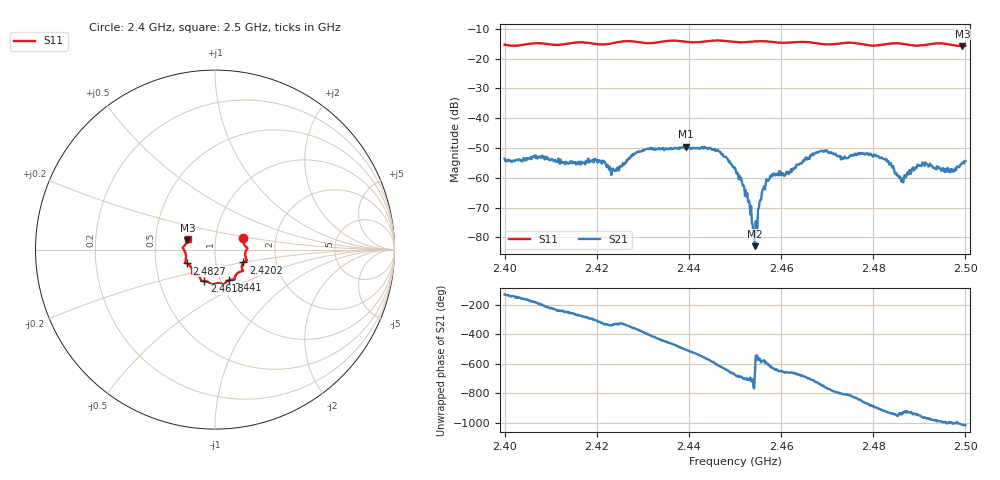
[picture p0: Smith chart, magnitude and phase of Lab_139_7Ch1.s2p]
# Hz S RI R 50
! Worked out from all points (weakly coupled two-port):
!   601 points, 2.4 GHz to 2.5 GHz, reference 50 ohm
!   highest |S21| = -49.54 dB at 2.4393 GHz (marker M1); lowest = -83.0 dB at 2.4543 GHz (marker M2)
!   lowest |S11| = -15.8 dB at 2.4993 GHz (marker M3), VSWR 1.39, Z = 36.5 + j3.83 ohm
!   |S11| at or under -10 dB: start of sweep to end of sweep
!   S12 and S22 are empty: the file has one direction only
!   S11 on the Smith chart (normalised r, x): 2.4 GHz: 1.36, +0.18; 2.4202 GHz: 1.36, -0.20; 2.441 GHz: 1.10, -0.39; 2.4618 GHz: 0.84, -0.30; 2.4827 GHz: 0.72, -0.11; 2.5 GHz: 0.73, +0.09
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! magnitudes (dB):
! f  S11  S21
! 2.4 GHz  -15.4  -53.6
! 2.4167 GHz  -14.5  -54.6
! 2.4202 GHz  -15.2  -54.9
! 2.4237 GHz  -14.8  -57.5
! 2.4333 GHz  -14.5  -50.2
! 2.4393 GHz  -14.4  -49.5
! 2.441 GHz  -14.6  -50.1
! 2.4463 GHz  -13.9  -50.7
! 2.45 GHz  -14.4  -56.6
! 2.4527 GHz  -14.5  -65.2
! 2.4543 GHz  -14.2  -83.0
! 2.4558 GHz  -14.2  -65.0
! 2.4572 GHz  -14.3  -61.1
! 2.4618 GHz  -14.6  -58.4
! 2.4667 GHz  -14.6  -52.4
! 2.4827 GHz  -15.2  -53.7
! 2.4833 GHz  -15.0  -54.6
! 2.4862 GHz  -15.0  -61.4
! 2.4912 GHz  -15.5  -56.0
! 2.4972 GHz  -15.4  -57.2
! 2.4993 GHz  -15.8  -54.9
! 2.5 GHz  -15.7  -54.4
